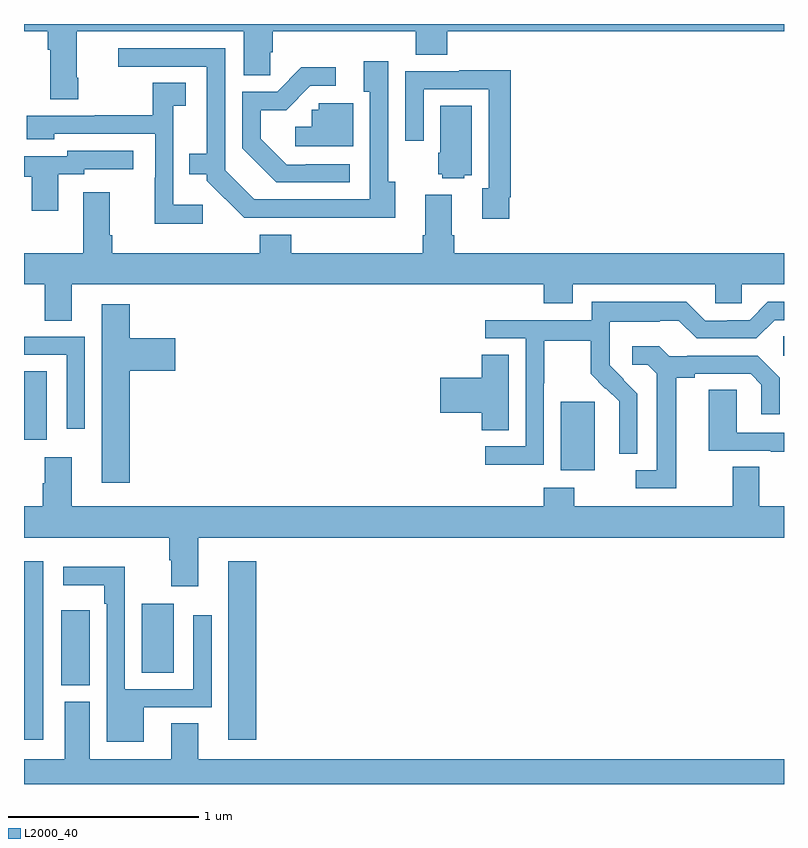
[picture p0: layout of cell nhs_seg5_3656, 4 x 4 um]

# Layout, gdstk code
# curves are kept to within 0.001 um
import gdstk
lib = gdstk.Library(unit=1e-6, precision=1e-09)
def R(c, l, rs):  # rectangles x0, y0, x1, y1
    for r in rs: c.add(gdstk.rectangle(r[:2], r[2:], *l))
def P(c, l, *ps):  # polygons
    for p in ps: c.add(gdstk.Polygon(p, *l))
L2000_40 = (2000, 40)

nhs_seg5_3656 = lib.new_cell('nhs_seg5_3656')
R(nhs_seg5_3656, L2000_40, [(327,853.032,327.1,853.972), (328.076,853.032,328.223,853.972), (327.197,853.318,327.346,853.714), (327.62,853.384,327.787,853.747), (329.825,854.45,330.004,854.811), (327,854.61,327.121,854.972), (330.996,855.054,331,855.155)])
P(nhs_seg5_3656, L2000_40, [(331,856.799),(327,856.799),(327,856.76),(327.125,856.76),(327.125,856.664),(327.137,856.664),(327.137,856.404),(327.285,856.404),(327.285,856.516),(327.277,856.516),(327.277,856.76),(328.157,856.76),(328.157,856.528),(328.295,856.528),(328.295,856.65),(328.31,856.65),(328.31,856.76),(329.063,856.76),(329.063,856.636),(329.228,856.636),(329.228,856.76),(331,856.76)],
  [(328.954,855.97),(328.917,855.97),(328.917,856.603),(328.787,856.603),(328.787,856.442),(328.821,856.442),(328.821,855.876),(328.212,855.876),(328.059,856.029),(328.059,856.671),(327.495,856.671),(327.495,856.575),(327.962,856.575),(327.962,856.117),(327.871,856.117),(327.871,856.007),(327.963,856.007),(327.963,855.975),(328.158,855.78),(328.954,855.779)],
  [(328.714,856.062),(328.483,856.062),(328.483,856.059),(328.383,856.059),(328.246,856.196),(328.246,856.346),(328.379,856.346),(328.506,856.473),(328.642,856.473),(328.642,856.571),(328.46,856.571),(328.332,856.443),(328.149,856.443),(328.149,856.145),(328.328,855.966),(328.714,855.966)],
  [(329.554,855.886),(329.561,855.886),(329.561,856.555),(329.291,856.555),(329.291,856.551),(329.007,856.551),(329.007,856.185),(329.103,856.185),(329.103,856.455),(329.445,856.455),(329.445,855.935),(329.411,855.935),(329.411,855.774),(329.554,855.774)],
  [(327.94,855.847),(327.786,855.847),(327.786,856.369),(327.85,856.369),(327.85,856.49),(327.678,856.49),(327.678,856.32),(327.373,856.32),(327.373,856.317),(327.015,856.317),(327.015,856.193),(327.159,856.193),(327.159,856.221),(327.69,856.221),(327.69,855.989),(327.688,855.989),(327.688,855.749),(327.94,855.749)],
  [(328.732,856.383),(328.551,856.383),(328.551,856.347),(328.515,856.347),(328.515,856.258),(328.428,856.258),(328.428,856.155),(328.732,856.155)],
  [(329.316,856.004),(329.356,856.004),(329.356,856.37),(329.192,856.37),(329.192,856.122),(329.18,856.122),(329.18,856.008),(329.202,856.008),(329.202,855.986),(329.316,855.986)],
  [(327.181,856.008),(327.318,856.008),(327.318,856.035),(327.574,856.035),(327.574,856.131),(327.228,856.131),(327.228,856.104),(327,856.104),(327,855.996),(327.041,855.996),(327.041,855.816),(327.181,855.816)],
  [(329.264,855.688),(329.251,855.688),(329.251,855.901),(329.111,855.901),(329.111,855.688),(329.099,855.688),(329.099,855.592),(328.406,855.592),(328.406,855.691),(328.241,855.691),(328.241,855.592),(327.464,855.592),(327.464,855.688),(327.451,855.688),(327.451,855.913),(327.311,855.913),(327.311,855.592),(327,855.592),(327,855.428),(327.11,855.428),(327.11,855.238),(327.25,855.238),(327.25,855.428),(329.735,855.428),(329.735,855.329),(329.887,855.329),(329.887,855.428),(330.639,855.428),(330.639,855.33),(330.777,855.33),(330.777,855.428),(331,855.428),(331,855.592),(329.264,855.592)],
  [(329.736,854.908),(329.739,854.908),(329.739,855.132),(329.983,855.132),(329.983,854.957),(330.06,854.88),(330.063,854.883),(330.134,854.813),(330.134,854.69),(330.132,854.69),(330.132,854.536),(330.228,854.536),(330.228,854.854),(330.082,855.002),(330.082,855.099),(330.084,855.099),(330.084,855.233),(330.347,855.233),(330.347,855.237),(330.447,855.237),(330.54,855.144),(330.855,855.144),(330.951,855.24),(331,855.24),(331,855.336),(330.915,855.336),(330.819,855.24),(330.701,855.24),(330.701,855.237),(330.585,855.237),(330.485,855.337),(329.988,855.337),(329.988,855.24),(329.427,855.24),(329.427,855.144),(329.64,855.144),(329.64,854.577),(329.427,854.577),(329.427,854.479),(329.736,854.479)],
  [(327.557,854.975),(327.796,854.975),(327.796,855.145),(327.557,855.145),(327.557,855.325),(327.41,855.325),(327.41,854.385),(327.557,854.385)],
  [(327.321,855.153),(327,855.153),(327,855.057),(327.225,855.057),(327.225,854.67),(327.321,854.67)],
  [(330.433,854.936),(330.529,854.936),(330.529,854.958),(330.824,854.958),(330.881,854.901),(330.881,854.745),(330.978,854.745),(330.978,854.938),(330.862,855.054),(330.49,855.054),(330.49,855.051),(330.396,855.051),(330.344,855.103),(330.201,855.103),(330.201,855.006),(330.282,855.006),(330.329,854.959),(330.329,854.451),(330.219,854.451),(330.219,854.355),(330.433,854.355)],
  [(329.551,855.059),(329.408,855.059),(329.408,854.936),(329.19,854.936),(329.19,854.753),(329.408,854.753),(329.408,854.662),(329.551,854.662)],
  [(331,854.649),(330.75,854.649),(330.75,854.873),(330.605,854.873),(330.605,854.553),(330.929,854.553),(330.929,854.549),(331,854.549)],
  [(327.916,854.096),(331,854.096),(331,854.26),(330.871,854.26),(330.871,854.468),(330.731,854.468),(330.731,854.26),(329.895,854.26),(329.895,854.359),(329.735,854.359),(329.735,854.26),(327.25,854.26),(327.25,854.518),(327.11,854.518),(327.11,854.381),(327.098,854.381),(327.098,854.26),(327,854.26),(327,854.096),(327.764,854.096),(327.764,853.976),(327.776,853.976),(327.776,853.839),(327.916,853.839)],
  [(327.631,853.203),(327.987,853.203),(327.987,853.687),(327.891,853.687),(327.891,853.299),(327.531,853.299),(327.531,853.942),(327.207,853.942),(327.207,853.844),(327.423,853.844),(327.423,853.748),(327.435,853.748),(327.435,853.022),(327.631,853.022)],
  [(331,852.928),(327.916,852.928),(327.916,853.118),(327.776,853.118),(327.776,852.928),(327.346,852.928),(327.346,853.233),(327.215,853.233),(327.215,852.928),(327,852.928),(327,852.799),(331,852.799)])

lib.write_gds('nhs_seg5_3656.gds')
